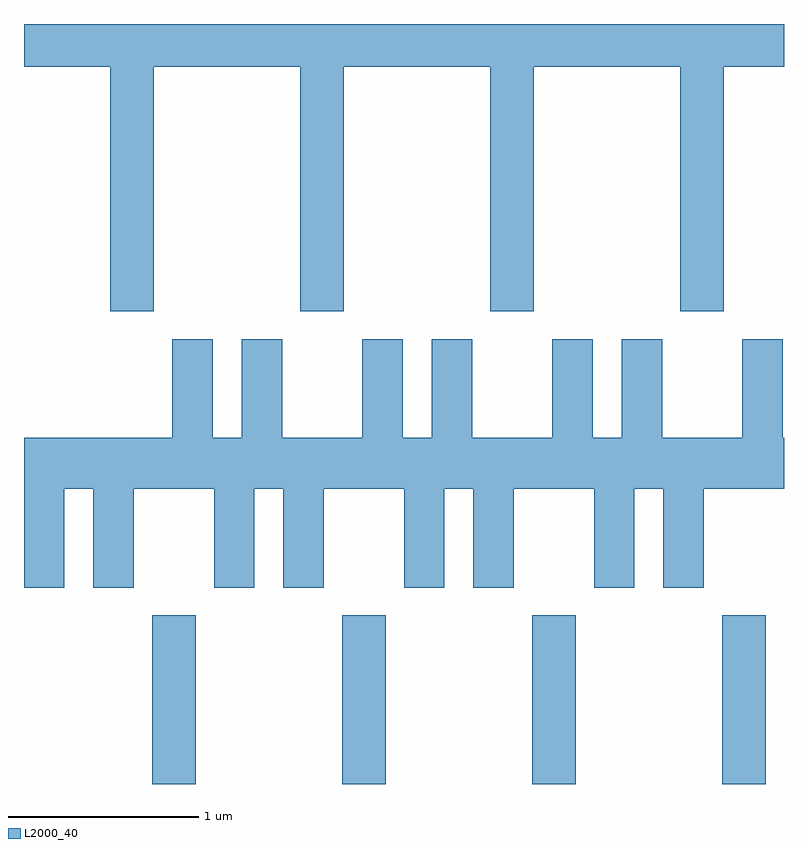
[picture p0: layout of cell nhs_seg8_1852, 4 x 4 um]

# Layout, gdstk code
import gdstk
lib = gdstk.Library(unit=1e-6, precision=1e-09)
def R(c, l, rs):  # rectangles x0, y0, x1, y1
    for r in rs: c.add(gdstk.rectangle(r[:2], r[2:], *l))
def A(c, l, x, y, w, h, nx, ny, dx, dy):  # array of equal rectangles
    R(c, l, [(x+i*dx, y+j*dy, x+i*dx+w, y+j*dy+h) for i in range(nx) for j in range(ny)])
def P(c, l, *ps):  # polygons
    for p in ps: c.add(gdstk.Polygon(p, *l))
L2000_40 = (2000, 40)

nhs_seg8_1852 = lib.new_cell('nhs_seg8_1852')
A(nhs_seg8_1852, L2000_40, 240.286, 1910.342, 0.228, 0.887, 4, 1, 1, 0)
P(nhs_seg8_1852, L2000_40, [(240.294,1914.116),(241.066,1914.116),(241.066,1912.831),(241.294,1912.831),(241.294,1914.116),(242.066,1914.116),(242.066,1912.831),(242.294,1912.831),(242.294,1914.116),(243.066,1914.116),(243.066,1912.831),(243.294,1912.831),(243.294,1914.116),(243.611,1914.116),(243.611,1914.342),(239.611,1914.342),(239.611,1914.116),(240.066,1914.116),(240.066,1912.831),(240.294,1912.831)],
  [(241.604,1912.684),(241.391,1912.684),(241.391,1912.164),(240.969,1912.164),(240.969,1912.684),(240.756,1912.684),(240.756,1912.164),(240.604,1912.164),(240.604,1912.684),(240.391,1912.684),(240.391,1912.164),(239.611,1912.164),(239.611,1911.376),(239.824,1911.376),(239.824,1911.896),(239.976,1911.896),(239.976,1911.376),(240.189,1911.376),(240.189,1911.896),(240.611,1911.896),(240.611,1911.376),(240.824,1911.376),(240.824,1911.896),(240.976,1911.896),(240.976,1911.376),(241.189,1911.376),(241.189,1911.896),(241.611,1911.896),(241.611,1911.376),(241.824,1911.376),(241.824,1911.896),(241.976,1911.896),(241.976,1911.376),(242.189,1911.376),(242.189,1911.896),(242.611,1911.896),(242.611,1911.376),(242.824,1911.376),(242.824,1911.896),(242.976,1911.896),(242.976,1911.376),(243.189,1911.376),(243.189,1911.896),(243.611,1911.896),(243.611,1912.164),(243.604,1912.164),(243.604,1912.684),(243.391,1912.684),(243.391,1912.164),(242.969,1912.164),(242.969,1912.684),(242.756,1912.684),(242.756,1912.164),(242.604,1912.164),(242.604,1912.684),(242.391,1912.684),(242.391,1912.164),(241.969,1912.164),(241.969,1912.684),(241.756,1912.684),(241.756,1912.164),(241.604,1912.164)])

lib.write_gds('nhs_seg8_1852.gds')
